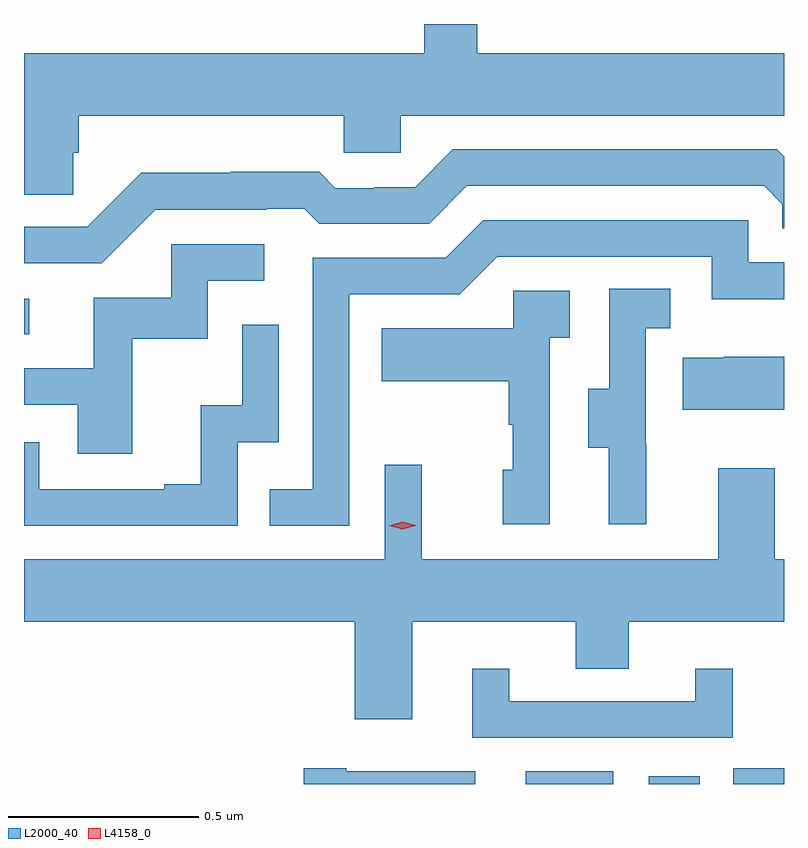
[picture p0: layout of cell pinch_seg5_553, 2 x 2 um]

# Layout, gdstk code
import gdstk
lib = gdstk.Library(unit=1e-6, precision=1e-09)
def R(c, l, rs):  # rectangles x0, y0, x1, y1
    for r in rs: c.add(gdstk.rectangle(r[:2], r[2:], *l))
def P(c, l, *ps):  # polygons
    for p in ps: c.add(gdstk.Polygon(p, *l))
L2000_40 = (2000, 40)
L4158_0 = (4158, 0)

pinch_seg5_553 = lib.new_cell('pinch_seg5_553')
R(pinch_seg5_553, L2000_40, [(950.69,843.013,950.92,843.046), (951.014,843.013,951.148,843.034), (951.236,843.013,951.37,843.054), (949.37,844.197,949.384,844.29)])
P(pinch_seg5_553, L2000_40, [(949.499,844.674),(949.514,844.674),(949.514,844.772),(950.211,844.772),(950.211,844.674),(950.361,844.674),(950.361,844.772),(951.37,844.772),(951.37,844.936),(950.563,844.936),(950.563,845.013),(950.423,845.013),(950.423,844.936),(949.37,844.936),(949.37,844.564),(949.499,844.564)],
  [(949.716,844.524),(950.009,844.524),(950.009,844.527),(950.108,844.527),(950.147,844.488),(950.436,844.488),(950.535,844.587),(951.318,844.587),(951.366,844.539),(951.366,844.476),(951.37,844.476),(951.37,844.664),(951.351,844.683),(950.498,844.683),(950.399,844.584),(950.292,844.584),(950.292,844.581),(950.189,844.581),(950.147,844.624),(949.914,844.624),(949.914,844.621),(949.678,844.621),(949.536,844.479),(949.37,844.479),(949.37,844.383),(949.575,844.383)],
  [(950.226,844.302),(950.517,844.302),(950.616,844.401),(951.18,844.401),(951.18,844.289),(951.37,844.289),(951.37,844.386),(951.276,844.386),(951.276,844.497),(950.579,844.497),(950.48,844.398),(950.13,844.398),(950.13,843.789),(950.017,843.789),(950.017,843.693),(950.226,843.693)],
  [(949.655,844.185),(949.854,844.185),(949.854,844.338),(950.002,844.338),(950.002,844.434),(949.758,844.434),(949.758,844.293),(949.553,844.293),(949.553,844.107),(949.37,844.107),(949.37,844.011),(949.511,844.011),(949.511,843.882),(949.655,843.882)],
  [(951.008,843.909),(951.006,843.909),(951.006,844.213),(951.07,844.213),(951.07,844.316),(950.91,844.316),(950.91,844.053),(950.855,844.053),(950.855,843.898),(950.909,843.898),(950.909,843.696),(951.008,843.696)],
  [(950.754,844.187),(950.806,844.187),(950.806,844.311),(950.658,844.311),(950.658,844.213),(950.311,844.213),(950.311,844.073),(950.646,844.073),(950.646,843.959),(950.656,843.959),(950.656,843.84),(950.63,843.84),(950.63,843.696),(950.754,843.696)],
  [(949.932,843.912),(950.04,843.912),(950.04,844.222),(949.944,844.222),(949.944,844.01),(949.835,844.01),(949.835,843.802),(949.739,843.802),(949.739,843.789),(949.41,843.789),(949.41,843.912),(949.37,843.912),(949.37,843.693),(949.932,843.693)],
  [(951.37,844.138),(951.211,844.138),(951.211,844.135),(951.103,844.135),(951.103,843.998),(951.37,843.998)],
  [(950.392,843.44),(950.822,843.44),(950.822,843.316),(950.962,843.316),(950.962,843.44),(951.37,843.44),(951.37,843.604),(951.345,843.604),(951.345,843.844),(951.197,843.844),(951.197,843.604),(950.417,843.604),(950.417,843.853),(950.319,843.853),(950.319,843.604),(949.37,843.604),(949.37,843.44),(950.24,843.44),(950.24,843.183),(950.392,843.183)],
  [(951.235,843.316),(951.137,843.316),(951.137,843.231),(950.647,843.231),(950.647,843.316),(950.549,843.316),(950.549,843.135),(951.235,843.135)],
  [(950.557,843.046),(950.218,843.046),(950.218,843.054),(950.106,843.054),(950.106,843.013),(950.557,843.013)])
P(pinch_seg5_553, L4158_0, [(950.366,843.683),(950.331,843.692),(950.331,843.693),(950.331,843.693),(950.366,843.703),(950.401,843.694),(950.401,843.694),(950.401,843.693)])

lib.write_gds('pinch_seg5_553.gds')
